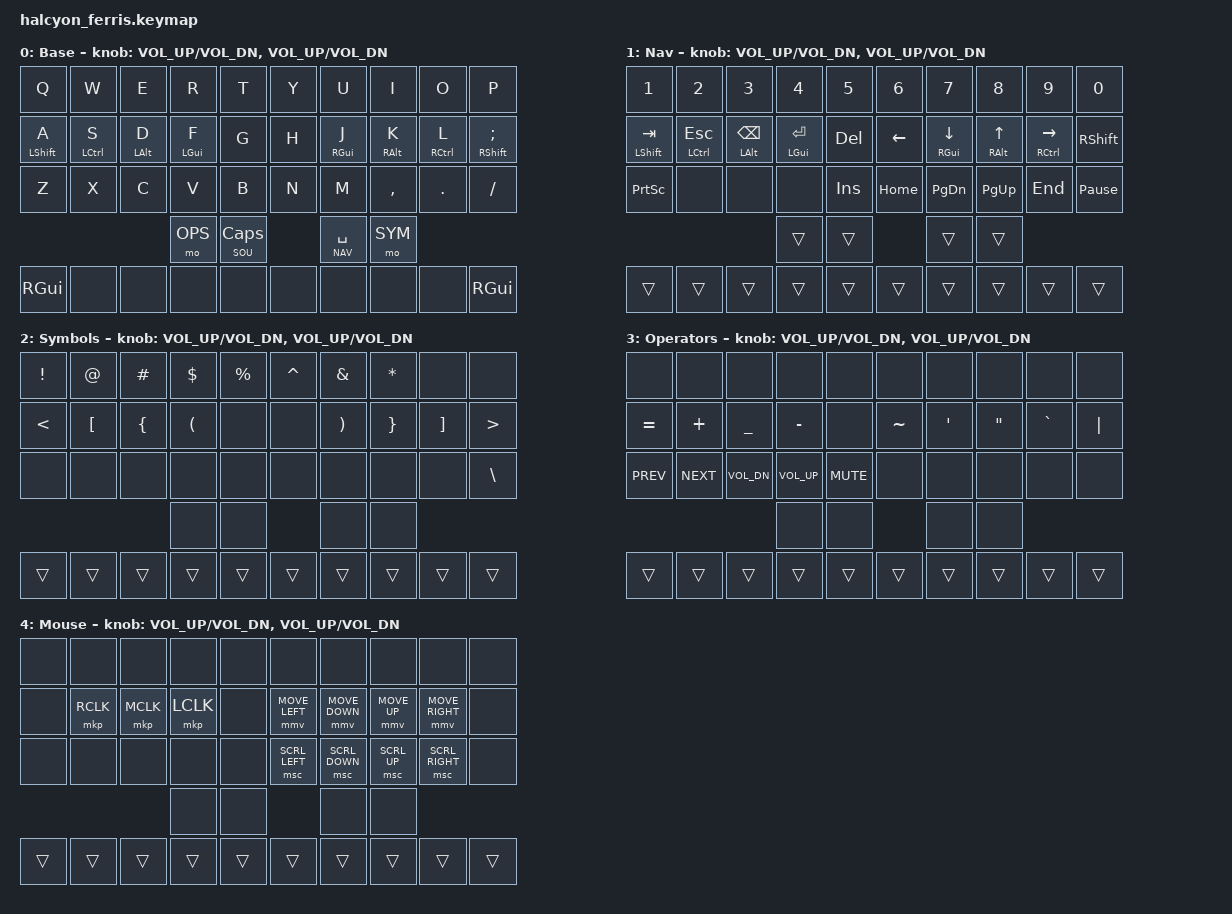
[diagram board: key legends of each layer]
/*
 * Halcyon Ferris — la disposition 34 touches. Ce fichier en est la source :
 * le SVG et l'audit de keyboards/splitkb/ en découlent.
 * Intention et raisonnement : ChristianLemer/orpheus, keyboards/splitkb/
 *
 * Portée de Vial touche pour touche en septembre 2026. Ce qui y était vide est
 * resté vide.
 *
 * SPDX-License-Identifier: MIT
 */

#include <behaviors.dtsi>
#include <dt-bindings/zmk/bt.h>
#include <dt-bindings/zmk/keys.h>
#include <dt-bindings/zmk/pointing.h>

#define BASE 0
#define NAV  1
#define SYM  2
#define OPS  3
#define SOU  4

/ {
    behaviors {
        // Mod-tap réglé pour reproduire le comportement QMK d'origine :
        // seul l'écoulement du délai décide du maintien, pas la frappe d'une
        // autre touche. C'est la saveur « tap-preferred », et 175 ms est le
        // TAPPING_TERM de l'époque Vial.
        hm: home_row_mod {
            compatible = "zmk,behavior-hold-tap";
            #binding-cells = <2>;
            flavor = "tap-preferred";
            tapping-term-ms = <175>;
            // Retaper puis maintenir dans les 175 ms répète la lettre au lieu de
            // déclencher le modificateur. QMK l'active par défaut ; ZMK non, et
            // sans ça une home row mod ne se répète pas.
            quick-tap-ms = <175>;
            bindings = <&kp>, <&kp>;
        };

        // &lt ne porte pas quick-tap-ms : sans ce jumeau, Space maintenu
        // n'enchaîne pas les espaces.
        ltr: layer_tap_repetable {
            compatible = "zmk,behavior-hold-tap";
            #binding-cells = <2>;
            flavor = "tap-preferred";
            tapping-term-ms = <175>;
            quick-tap-ms = <175>;
            bindings = <&mo>, <&kp>;
        };
    };

    keymap {
        compatible = "zmk,keymap";

        base_layer {
            display-name = "Base";
// -----------------------------------------------------------------------------------------
// |  Q  |  W  |  E  |  R  |  T  |   |  Y  |  U  |  I  |  O  |  P  |
// | A⇧  | S⌃  | D⌥  | F⌘  |  G  |   |  H  | J⌘  | K⌥  | L⌃  | ;⇧  |
// |  Z  |  X  |  C  |  V  |  B  |   |  N  |  M  |  ,  |  .  |  /  |
//                   | OPS | ⇪/SOU |   | ␣/NAV | SYM |
            bindings = <
&kp Q        &kp W        &kp E        &kp R        &kp T     &kp Y   &kp U        &kp I        &kp O        &kp P
&hm LSHFT A  &hm LCTRL S  &hm LALT D   &hm LGUI F   &kp G     &kp H   &hm RGUI J   &hm RALT K   &hm RCTRL L  &hm RSHFT SEMI
&kp Z        &kp X        &kp C        &kp V        &kp B     &kp N   &kp M        &kp COMMA    &kp DOT      &kp FSLH
                                  &mo OPS  &ltr SOU CAPS       &ltr NAV SPACE  &mo SYM

&kp RGUI &none &none &none &none                              &none &none &none &none &kp RGUI
            >;
            sensor-bindings = <&inc_dec_kp C_VOL_UP C_VOL_DN &inc_dec_kp C_VOL_UP C_VOL_DN>;
        };

        nav_layer {
            display-name = "Nav";
// -----------------------------------------------------------------------------------------
// |  1  |  2  |  3  |  4  |  5  |   |  6  |  7  |  8  |  9  |  0  |
// |TAB⇧ |ESC⌃ |BSP⌥ |RET⌘ | DEL |   |  ←  | ↓⌘  | ↑⌥  | →⌃  |  ⇧  |
// |PRTSC|     |     |     | INS |   |HOME |PG_DN|PG_UP| END |PAUSE|
            bindings = <
&kp N1         &kp N2         &kp N3         &kp N4        &kp N5    &kp N6     &kp N7         &kp N8       &kp N9           &kp N0
&hm LSHFT TAB  &hm LCTRL ESC  &hm LALT BSPC  &hm LGUI RET  &kp DEL   &kp LEFT   &hm RGUI DOWN  &hm RALT UP  &hm RCTRL RIGHT  &kp RSHFT
&kp PSCRN      &none          &none          &none         &kp INS   &kp HOME   &kp PG_DN      &kp PG_UP    &kp END          &kp PAUSE_BREAK
                                        &trans &trans                &trans &trans

&trans &trans &trans &trans &trans                                   &trans &trans &trans &trans &trans
            >;
            sensor-bindings = <&inc_dec_kp C_VOL_UP C_VOL_DN &inc_dec_kp C_VOL_UP C_VOL_DN>;
        };

        sym_layer {
            display-name = "Symbols";
// -----------------------------------------------------------------------------------------
// |  !  |  @  |  #  |  $  |  %  |   |  ^  |  &  |  *  |     |     |
// |  <  |  [  |  {  |  (  |     |   |     |  )  |  }  |  ]  |  >  |
// |     |     |     |     |     |   |     |     |     |     |  \  |
            bindings = <
&kp EXCL   &kp AT     &kp HASH   &kp DLLR   &kp PRCNT    &kp CARET  &kp AMPS   &kp STAR   &none      &none
&kp LT     &kp LBKT   &kp LBRC   &kp LPAR   &none        &none      &kp RPAR   &kp RBRC   &kp RBKT   &kp GT
&none      &none      &none      &none      &none        &none      &none      &none      &none      &kp BSLH
                                    &none &none                     &none &none

&trans &trans &trans &trans &trans                                  &trans &trans &trans &trans &trans
            >;
            sensor-bindings = <&inc_dec_kp C_VOL_UP C_VOL_DN &inc_dec_kp C_VOL_UP C_VOL_DN>;
        };

        ops_layer {
            display-name = "Operators";
// -----------------------------------------------------------------------------------------
// |     |     |     |     |     |   |     |     |     |     |     |
// |  =  |  +  |  _  |  -  |     |   |  ~  |  '  |  "  |  `  |  |  |
// |PREV |NEXT |VOL- |VOL+ |MUTE |   |     |     |     |     |     |
            bindings = <
&none       &none       &none         &none         &none        &none       &none     &none     &none        &none
&kp EQUAL   &kp PLUS    &kp UNDER     &kp MINUS     &none        &kp TILDE   &kp SQT   &kp DQT   &kp GRAVE    &kp PIPE
&kp C_PREV  &kp C_NEXT  &kp C_VOL_DN  &kp C_VOL_UP  &kp C_MUTE   &none       &none     &none     &none        &none
                                     &none &none                 &none &none

&trans &trans &trans &trans &trans                               &trans &trans &trans &trans &trans
            >;
            sensor-bindings = <&inc_dec_kp C_VOL_UP C_VOL_DN &inc_dec_kp C_VOL_UP C_VOL_DN>;
        };

        souris_layer {
            display-name = "Mouse";
// -----------------------------------------------------------------------------------------
// |     |     |     |     |     |   |     |     |     |     |     |
// |     |CLIC▸|CLIC•|CLIC◂|     |   |  ←  |  ↓  |  ↑  |  →  |     |
// |     |     |     |     |     |   |SCR◂ |SCR▾ |SCR▴ |SCR▸ |     |
            bindings = <
&none  &none      &none      &none      &none    &none            &none            &none          &none             &none
&none  &mkp RCLK  &mkp MCLK  &mkp LCLK  &none    &mmv MOVE_LEFT   &mmv MOVE_DOWN   &mmv MOVE_UP   &mmv MOVE_RIGHT   &none
&none  &none      &none      &none      &none    &msc SCRL_LEFT   &msc SCRL_DOWN   &msc SCRL_UP   &msc SCRL_RIGHT   &none
                                &none &none                       &none &none

&trans &trans &trans &trans &trans                                &trans &trans &trans &trans &trans
            >;
            sensor-bindings = <&inc_dec_kp C_VOL_UP C_VOL_DN &inc_dec_kp C_VOL_UP C_VOL_DN>;
        };
    };
};
